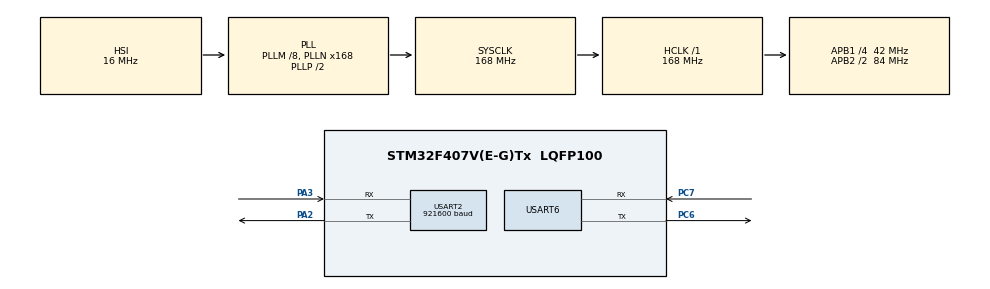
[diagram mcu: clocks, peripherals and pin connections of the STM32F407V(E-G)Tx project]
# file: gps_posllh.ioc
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Dma.Request0=USART6_RX
Dma.USART6_RX.0.Direction=DMA_PERIPH_TO_MEMORY
Dma.USART6_RX.0.FIFOMode=DMA_FIFOMODE_DISABLE
Dma.USART6_RX.0.Instance=DMA2_Stream1
Dma.USART6_RX.0.MemDataAlignment=DMA_MDATAALIGN_BYTE
Dma.USART6_RX.0.MemInc=DMA_MINC_ENABLE
Dma.USART6_RX.0.Mode=DMA_CIRCULAR
Dma.USART6_RX.0.PeriphDataAlignment=DMA_PDATAALIGN_BYTE
Dma.USART6_RX.0.PeriphInc=DMA_PINC_DISABLE
Dma.USART6_RX.0.Priority=DMA_PRIORITY_LOW
Mcu.Family=STM32F4
Mcu.Name=STM32F407V(E-G)Tx
Mcu.Package=LQFP100
NVIC.DMA2_Stream1_IRQn=true\:0\:0\:false\:false\:true\:false
NVIC.PriorityGroup=NVIC_PRIORITYGROUP_4
NVIC.TIM6_DAC_IRQn=true\:0\:0\:false\:false\:true\:true
NVIC.TIM7_IRQn=true\:0\:0\:false\:false\:true\:true
NVIC.USART2_IRQn=true\:0\:0\:false\:false\:true\:true
NVIC.USART6_IRQn=true\:0\:0\:false\:false\:true\:true
PA13.Mode=Serial_Wire
PA13.Signal=SYS_JTMS-SWDIO
PA14.Mode=Serial_Wire
PA14.Signal=SYS_JTCK-SWCLK
PA2.Mode=Asynchronous
PA2.Signal=USART2_TX
PA3.Mode=Asynchronous
PA3.Signal=USART2_RX
PC6.Mode=Asynchronous
PC6.Signal=USART6_TX
PC7.Mode=Asynchronous
PC7.Signal=USART6_RX
PH0-OSC_IN.Mode=HSE-External-Oscillator
PH0-OSC_IN.Signal=RCC_OSC_IN
PH1-OSC_OUT.Mode=HSE-External-Oscillator
PH1-OSC_OUT.Signal=RCC_OSC_OUT
ProjectManager.HeapSize=0x200
ProjectManager.StackSize=0x4000
ProjectManager.TargetToolchain=EWARM
RCC.48MHZClocksFreq_Value=84000000
RCC.AHBFreq_Value=168000000
RCC.APB1CLKDivider=RCC_HCLK_DIV4
RCC.APB1Freq_Value=42000000
RCC.APB1TimFreq_Value=84000000
RCC.APB2CLKDivider=RCC_HCLK_DIV2
RCC.APB2Freq_Value=84000000
RCC.APB2TimFreq_Value=168000000
RCC.CortexFreq_Value=168000000
RCC.HCLKFreq_Value=168000000
RCC.HSE_VALUE=25000000
RCC.HSI_VALUE=16000000
RCC.LSE_VALUE=32768
RCC.PLLM=8
RCC.PLLN=168
RCC.SYSCLKFreq_VALUE=168000000
RCC.SYSCLKSource=RCC_SYSCLKSOURCE_PLLCLK
RCC.VCOOutputFreq_Value=336000000
TIM6.Period=999
TIM6.Prescaler=83
TIM7.Period=9999
TIM7.Prescaler=8399
USART2.BaudRate=921600
USART2.VirtualMode=VM_ASYNC
USART6.VirtualMode=VM_ASYNC
VP_TIM6_VS_ClockSourceINT.Mode=Enable_Timer
VP_TIM7_VS_ClockSourceINT.Mode=Enable_Timer
board=gps_posllh

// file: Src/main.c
/**
  ******************************************************************************
  * File Name          : main.c
  * Description        : Main program body
  ******************************************************************************
  ** This notice applies to any and all portions of this file
  * that are not between comment pairs USER CODE BEGIN and
  * USER CODE END. Other portions of this file, whether
  * inserted by the user or by software development tools
  * are owned by their respective copyright owners.
  *
  * COPYRIGHT(c) 2017 STMicroelectronics
  *
  * Redistribution and use in source and binary forms, with or without modification,
  * are permitted provided that the following conditions are met:
  *   1. Redistributions of source code must retain the above copyright notice,
  *      this list of conditions and the following disclaimer.
  *   2. Redistributions in binary form must reproduce the above copyright notice,
  *      this list of conditions and the following disclaimer in the documentation
  *      and/or other materials provided with the distribution.
  *   3. Neither the name of STMicroelectronics nor the names of its contributors
  *      may be used to endorse or promote products derived from this software
  *      without specific prior written permission.
  *
  * THIS SOFTWARE IS PROVIDED BY THE COPYRIGHT HOLDERS AND CONTRIBUTORS "AS IS"
  * AND ANY EXPRESS OR IMPLIED WARRANTIES, INCLUDING, BUT NOT LIMITED TO, THE
  * IMPLIED WARRANTIES OF MERCHANTABILITY AND FITNESS FOR A PARTICULAR PURPOSE ARE
  * DISCLAIMED. IN NO EVENT SHALL THE COPYRIGHT HOLDER OR CONTRIBUTORS BE LIABLE
  * FOR ANY DIRECT, INDIRECT, INCIDENTAL, SPECIAL, EXEMPLARY, OR CONSEQUENTIAL
  * DAMAGES (INCLUDING, BUT NOT LIMITED TO, PROCUREMENT OF SUBSTITUTE GOODS OR
  * SERVICES; LOSS OF USE, DATA, OR PROFITS; OR BUSINESS INTERRUPTION) HOWEVER
  * CAUSED AND ON ANY THEORY OF LIABILITY, WHETHER IN CONTRACT, STRICT LIABILITY,
  * OR TORT (INCLUDING NEGLIGENCE OR OTHERWISE) ARISING IN ANY WAY OUT OF THE USE
  * OF THIS SOFTWARE, EVEN IF ADVISED OF THE POSSIBILITY OF SUCH DAMAGE.
  *
  ******************************************************************************
  */
#include "main.h"
#include "stm32f4xx_hal.h"
#include "dma.h"
#include "tim.h"
#include "usart.h"
#include "gpio.h"

/* USER CODE BEGIN Includes */
#include "gps.h"
#include "string.h"
/* USER CODE END Includes */

/* USER CODE BEGIN PV */
/* Private variables ---------------------------------------------------------*/
uint16_t loop_counter;
int count = 0;
/* USER CODE END PV */

void SystemClock_Config(void);

/* USER CODE BEGIN PFP */
/* Private function prototypes -----------------------------------------------*/

/* USER CODE END PFP */

int main(void)
{

  /* MCU Configuration----------------------------------------------------------*/

  /* Reset of all peripherals, Initializes the Flash interface and the Systick. */
  HAL_Init();

  /* Configure the system clock */
  SystemClock_Config();

  /* Initialize all configured peripherals */
  MX_GPIO_Init();
  MX_DMA_Init();
  MX_TIM6_Init();
  MX_TIM7_Init();
  MX_USART6_UART_Init();
  MX_USART2_UART_Init();

  /* USER CODE BEGIN 2 */
  HAL_TIM_Base_Start_IT(&htim6);
  HAL_TIM_Base_Start_IT(&htim7);
  gps_posllh_init();
  HAL_UART_Receive_DMA(&huart6, gps_posllh.data_dma_receive_buff, RECEIVE_BUFF_SIZE);
  /* USER CODE END 2 */

  /* Infinite loop */
  while (1)
  {
  }

}

/** System Clock Configuration
*/
void SystemClock_Config(void)
{

  RCC_OscInitTypeDef RCC_OscInitStruct;
  RCC_ClkInitTypeDef RCC_ClkInitStruct;

    /**Configure the main internal regulator output voltage
    */
  __HAL_RCC_PWR_CLK_ENABLE();

  __HAL_PWR_VOLTAGESCALING_CONFIG(PWR_REGULATOR_VOLTAGE_SCALE1);

    /**Initializes the CPU, AHB and APB busses clocks
    */
  RCC_OscInitStruct.OscillatorType = RCC_OSCILLATORTYPE_HSI;
  RCC_OscInitStruct.HSIState = RCC_HSI_ON;
  RCC_OscInitStruct.HSICalibrationValue = 16;
  RCC_OscInitStruct.PLL.PLLState = RCC_PLL_ON;
  RCC_OscInitStruct.PLL.PLLSource = RCC_PLLSOURCE_HSI;
  RCC_OscInitStruct.PLL.PLLM = 8;
  RCC_OscInitStruct.PLL.PLLN = 168;
  RCC_OscInitStruct.PLL.PLLP = RCC_PLLP_DIV2;
  RCC_OscInitStruct.PLL.PLLQ = 4;
  if (HAL_RCC_OscConfig(&RCC_OscInitStruct) != HAL_OK)
  {
    _Error_Handler(__FILE__, __LINE__);
  }

    /**Initializes the CPU, AHB and APB busses clocks
    */
  RCC_ClkInitStruct.ClockType = RCC_CLOCKTYPE_HCLK|RCC_CLOCKTYPE_SYSCLK
                              |RCC_CLOCKTYPE_PCLK1|RCC_CLOCKTYPE_PCLK2;
  RCC_ClkInitStruct.SYSCLKSource = RCC_SYSCLKSOURCE_PLLCLK;
  RCC_ClkInitStruct.AHBCLKDivider = RCC_SYSCLK_DIV1;
  RCC_ClkInitStruct.APB1CLKDivider = RCC_HCLK_DIV4;
  RCC_ClkInitStruct.APB2CLKDivider = RCC_HCLK_DIV2;

  if (HAL_RCC_ClockConfig(&RCC_ClkInitStruct, FLASH_LATENCY_5) != HAL_OK)
  {
    _Error_Handler(__FILE__, __LINE__);
  }

    /**Configure the Systick interrupt time
    */
  HAL_SYSTICK_Config(HAL_RCC_GetHCLKFreq()/1000);

    /**Configure the Systick
    */
  HAL_SYSTICK_CLKSourceConfig(SYSTICK_CLKSOURCE_HCLK);

  /* SysTick_IRQn interrupt configuration */
  HAL_NVIC_SetPriority(SysTick_IRQn, 0, 0);
}

/* USER CODE BEGIN 4 */
void HAL_TIM_PeriodElapsedCallback(TIM_HandleTypeDef *htim)
{
  static uint16_t uart6_ndtr = 0;
  static uint16_t prev_uart6_ndtr = 0;

  if(htim->Instance==TIM7)
  {
#if 1
    printf("test %.4d %.4d %.4d \r\n",HAL_GetTick(),loop_counter, count);

    loop_counter = 0;
    count = 0;
#endif
  }
  else if(htim->Instance==TIM6)
  {
    uart6_ndtr = huart6.hdmarx->Instance->NDTR;

    if(prev_uart6_ndtr > uart6_ndtr)
    {
      read_gps_packet(prev_uart6_ndtr, uart6_ndtr);

      prev_uart6_ndtr = huart6.hdmarx->Instance->NDTR;

      //check_gps_packet();

      count++;

    }

#if 1

    if(gps_posllh.packet_complete_flag == 1)
    {
      gps_posllh.posllh_buff_idx = 0;
      gps_posllh.packet_complete_flag = 0;

      calculate_gps_check_sum();
    }

    if(gps_posllh.check_sum_complete_flag == 1)
    {
      gps_posllh.check_sum_complete_flag = 0;

      decode_gps_posllh_packet();
      loop_counter++;

    }
#endif

  }
}

#ifdef __GNUC__
/* With GCC, small printf (option LD Linker->Libraries->Small printf
set to 'Yes') calls __io_putchar() */
#define PUTCHAR_PROTOTYPE int __io_putchar(int ch)
#else
#define PUTCHAR_PROTOTYPE int fputc(int ch, FILE *f)
#endif /* __GNUC__ */
PUTCHAR_PROTOTYPE
{
  /* Place your implementation of fputc here */
  /* e.g. write a character to the EVAL_COM1 and Loop until the end of transmission */
  HAL_UART_Transmit(&huart2, (uint8_t *)&ch, 1, 0xFFFF);

  return ch;
}

/* USER CODE END 4 */

void _Error_Handler(char * file, int line)
{
  while(1)
  {
  }
}

/************************ (C) COPYRIGHT STMicroelectronics *****END OF FILE****/
